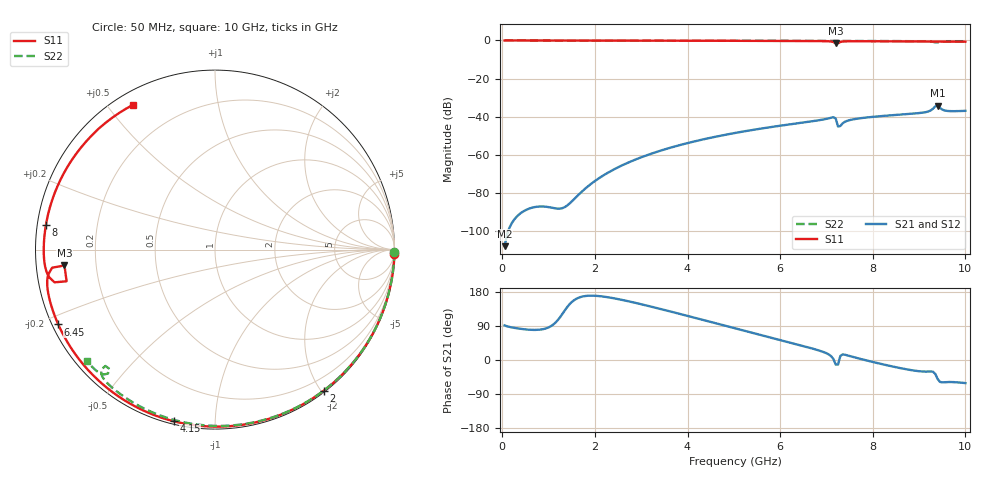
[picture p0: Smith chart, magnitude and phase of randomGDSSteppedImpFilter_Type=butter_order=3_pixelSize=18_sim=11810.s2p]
! freq	dB(S11)	phase(S11)	dB(S12)	phase(S12)
!  dB(S21)	phase(S21)	dB(S22)	phase(S22)
!S-par simulation data
#  GHz  S  DB  R 50
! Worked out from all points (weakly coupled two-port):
!   200 points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, 50 MHz to 10 GHz, reference 50 ohm
!   highest |S21| = -34.27 dB at 9.4 GHz (marker M1); lowest = -107.9 dB at 50 MHz (marker M2)
!   lowest |S11| = -1.5 dB at 7.2 GHz (marker M3), VSWR 11.76, Z = 4.26 - j2.61 ohm
!   |S11| at or under -10 dB: nowhere
!   |S22| runs from -1.0 to 0.0 dB; largest |S21 - S12| = 0
!   S11 on the Smith chart (normalised r, x): 50 MHz: 0, -85; 2 GHz: 0.02, -2.04; 4.15 GHz: 0.01, -0.79; 6.45 GHz: 0.02, -0.23; 8 GHz: 0.02, +0.07; 10 GHz: 0.05, +0.58
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0.05  -0.00 -1.3  -107.91 91.4  -107.91 91.4  -0.00 -0.8
0.8  -0.03 -21.3  -87.11 79.9  -87.11 79.9  -0.02 -12.9
1.65  -0.06 -43.4  -80.85 164.5  -80.85 164.5  -0.03 -26.4
1.75  -0.06 -46.0  -78.59 168.0  -78.59 168.0  -0.04 -27.9
2  -0.07 -52.3  -73.73 169.5  -73.73 169.5  -0.04 -31.8
2.6  -0.09 -67.2  -65.37 158.3  -65.37 158.3  -0.05 -41.1
3.4  -0.11 -86.3  -57.94 135.2  -57.94 135.2  -0.07 -53.1
4.15  -0.14 -103.5  -52.95 111.6  -52.95 111.6  -0.09 -64.1
5.05  -0.19 -123.6  -48.42 83.0  -48.42 83.0  -0.12 -76.8
6.45  -0.28 -154.5  -43.21 38.5  -43.21 38.5  -0.18 -95.6
6.7  -0.31 -160.2  -42.36 30.1  -42.36 30.1  -0.19 -98.8
7.1  -0.54 -171.5  -40.52 10.2  -40.52 10.2  -0.21 -104.0
7.2  -1.48 -174.0  -40.95 -12.0  -40.95 -12.0  -0.22 -105.3
7.25  -1.46 -168.0  -45.13 -12.0  -45.13 -12.0  -0.23 -105.9
7.4  -0.47 -172.5  -42.64 13.9  -42.64 13.9  -0.24 -107.8
8  -0.43 171.8  -40.08 -5.2  -40.08 -5.2  -0.28 -115.4
8.35  -0.46 163.2  -39.34 -15.1  -39.34 -15.1  -0.31 -119.8
9.15  -0.55 142.9  -37.57 -30.7  -37.57 -30.7  -0.44 -130.7
9.3  -0.57 138.9  -35.81 -30.9  -35.81 -30.9  -0.73 -133.5
9.4  -0.58 136.2  -34.27 -49.9  -34.27 -49.9  -1.04 -131.3
9.55  -0.59 132.1  -36.72 -58.6  -36.72 -58.6  -0.55 -132.5
10  -0.66 119.5  -36.92 -60.9  -36.92 -60.9  -0.49 -139.1
